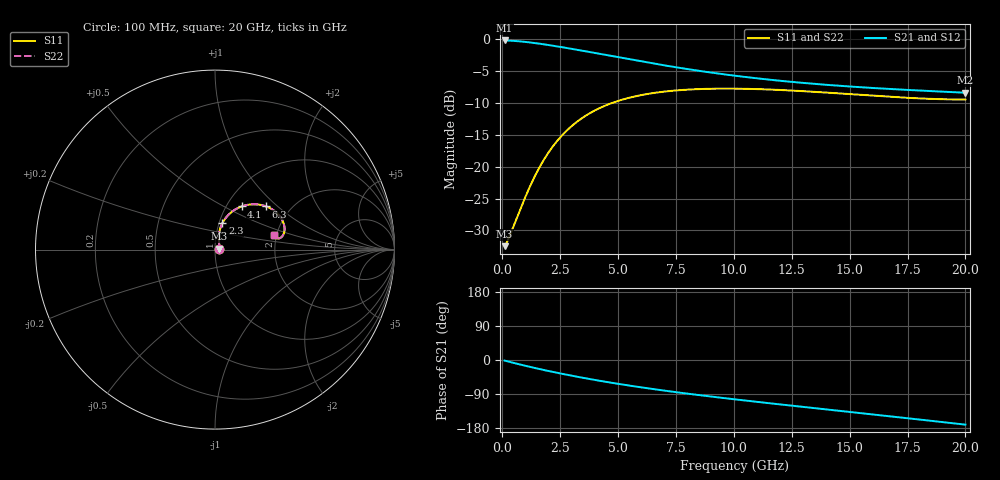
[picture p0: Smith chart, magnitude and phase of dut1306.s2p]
! Touchstone file exported from HFSS 2024.1.0
!  File:  C:/UserFiles/LocalFiles/RDL_TSV_Batchsim/temp_RDL_TSV_1306_1780383350.aedt
!  Generated:  03:10:56 PM Jun  2, 2026
!  Design:  RDL_TSV
!  Project:  temp_RDL_TSV_1306_1780383350
!  Setup:  Setup1
!  Solution:  Sweep
! Variables:
!  dtsv = 12.18um
!  hbump = 3um
!  htsv = 50.4um
!  ldown = 600.75um
!  lrdl = 184.72um
!  p = 40
!  p1 = 51.9um
!  rhole = 10um
!  subl = 2541.13um
!  t = 450um
!  tdown = 2.75um
!  trdl = 3.03um
!  viad = 10um
!  wdown = 12.33um
!  wrdl = 18.41um
!  xbump = 18um
# GHz S MA R 50.000000
! Terminal data exported
! Port[1] = TM1_1_T1
! Port[2] = TM1_4_T1
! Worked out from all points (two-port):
!   200 points, 100 MHz to 20 GHz, reference 50 ohm
!   highest |S21| = -0.21 dB at 100 MHz (marker M1); lowest = -8.4 dB at 20 GHz (marker M2)
!   |S21| within 3 dB of the highest: start of sweep to 5.567 GHz
!   lowest |S11| = -32.5 dB at 100 MHz (marker M3), VSWR 1.05, Z = 52.4 + j0.553 ohm
!   |S11| at or under -10 dB: start of sweep to 4.747 GHz
!   |S22| runs from -32.5 to -7.8 dB; largest |S21 - S12| = 1.9e-14
!   S11 on the Smith chart (normalised r, x): 100 MHz: 1.05, +0.01; 2.3 GHz: 1.04, +0.31; 4.1 GHz: 1.17, +0.61; 6.3 GHz: 1.51, +0.84; 20 GHz: 1.93, +0.35
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0.1  0.02382 12.8  0.9764 -1.6  0.9764 -1.6  0.02382 12.8
! Gamma 0 0 0 0
! Port Impedance 50 0 50 0
0.2  0.02557 24.2  0.9754 -3.2  0.9754 -3.2  0.02557 24.2
0.3  0.02812 33.7  0.9737 -4.8  0.9737 -4.8  0.02812 33.7
0.7  0.04286 58.2  0.9628 -10.9  0.9628 -10.9  0.04286 58.2
1.1  0.06405 70.6  0.9466 -16.8  0.9466 -16.8  0.06405 70.6
1.4  0.08386 74.8  0.932 -21.0  0.932 -21.0  0.08387 74.8
1.8  0.1138 76.2  0.9104 -26.5  0.9104 -26.5  0.1138 76.3
2.3  0.1537 74.3  0.8814 -33.0  0.8814 -33.0  0.1537 74.4
2.9  0.2009 69.6  0.8452 -40.3  0.8452 -40.3  0.2009 69.7
3.5  0.2442 64.1  0.8088 -47.2  0.8088 -47.2  0.2443 64.1
4.1  0.2821 58.4  0.773 -53.7  0.773 -53.7  0.2822 58.4
5.1  0.3321 49.5  0.7162 -63.8  0.7162 -63.8  0.3322 49.5
6.3  0.3725 40.3  0.6547 -74.9  0.6547 -74.9  0.3727 40.3
6.8  0.3841 36.9  0.6316 -79.1  0.6316 -79.1  0.3843 36.9
8.4  0.4053 27.8  0.5677 -91.9  0.5677 -91.9  0.4055 27.8
10.1  0.4091 20.5  0.5153 -104.2  0.5153 -104.2  0.4093 20.5
11.7  0.4017 15.5  0.4776 -115.2  0.4776 -115.2  0.402 15.5
13.4  0.3871 11.9  0.4472 -126.5  0.4472 -126.5  0.3874 11.9
15  0.3705 10.2  0.4253 -137.0  0.4253 -137.0  0.3708 10.2
16.7  0.3534 10.0  0.4071 -148.3  0.4071 -148.3  0.3538 10.0
18.4  0.3408 11.5  0.3922 -159.7  0.3922 -159.7  0.3412 11.5
20  0.3361 14.0  0.3802 -170.6  0.3802 -170.6  0.3365 13.9
